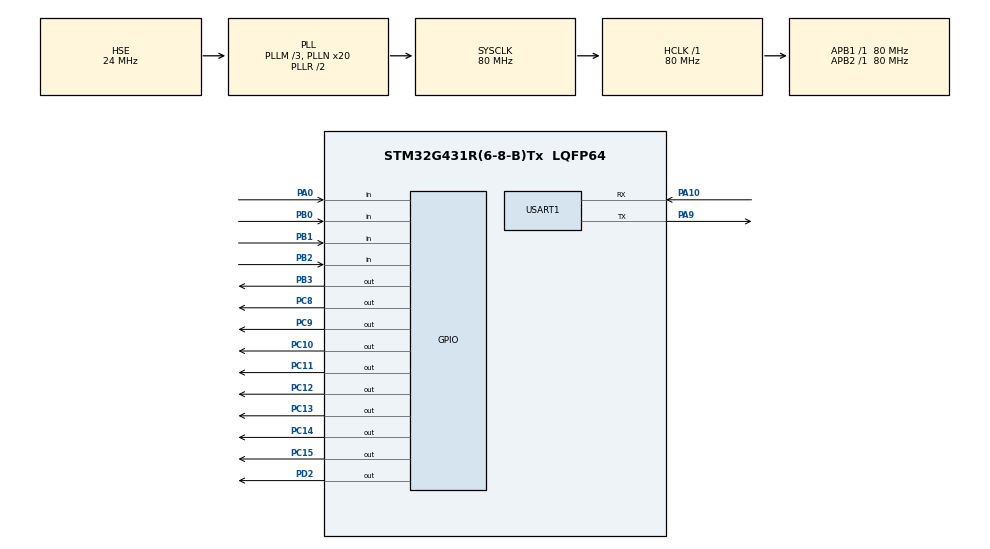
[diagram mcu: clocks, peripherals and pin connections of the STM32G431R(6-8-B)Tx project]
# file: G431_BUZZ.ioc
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Mcu.Family=STM32G4
Mcu.Name=STM32G431R(6-8-B)Tx
Mcu.Package=LQFP64
NVIC.PriorityGroup=NVIC_PRIORITYGROUP_4
NVIC.TIM6_DAC_IRQn=true\:0\:0\:false\:false\:true\:false\:true\:true
PA0.Signal=GPIO_Input
PA10.Mode=Asynchronous
PA10.Signal=USART1_RX
PA13.Mode=Serial_Wire
PA13.Signal=SYS_JTMS-SWDIO
PA14.Mode=Serial_Wire
PA14.Signal=SYS_JTCK-SWCLK
PA9.Mode=Asynchronous
PA9.Signal=USART1_TX
PB0.Signal=GPIO_Input
PB1.Signal=GPIO_Input
PB2.Signal=GPIO_Input
PB3.PinState=GPIO_PIN_SET
PB3.Signal=GPIO_Output
PC10.PinState=GPIO_PIN_SET
PC10.Signal=GPIO_Output
PC11.PinState=GPIO_PIN_SET
PC11.Signal=GPIO_Output
PC12.PinState=GPIO_PIN_SET
PC12.Signal=GPIO_Output
PC13.PinState=GPIO_PIN_SET
PC13.Signal=GPIO_Output
PC14-OSC32_IN.PinState=GPIO_PIN_SET
PC14-OSC32_IN.Signal=GPIO_Output
PC15-OSC32_OUT.PinState=GPIO_PIN_SET
PC15-OSC32_OUT.Signal=GPIO_Output
PC8.PinState=GPIO_PIN_SET
PC8.Signal=GPIO_Output
PC9.PinState=GPIO_PIN_SET
PC9.Signal=GPIO_Output
PD2.PinState=GPIO_PIN_SET
PD2.Signal=GPIO_Output
PF0-OSC_IN.Mode=HSE-External-Oscillator
PF0-OSC_IN.Signal=RCC_OSC_IN
PF1-OSC_OUT.Mode=HSE-External-Oscillator
PF1-OSC_OUT.Signal=RCC_OSC_OUT
ProjectManager.HeapSize=0x200
ProjectManager.StackSize=0x400
ProjectManager.TargetToolchain=MDK-ARM V5
RCC.ADC12Freq_Value=80000000
RCC.AHBFreq_Value=80000000
RCC.APB1Freq_Value=80000000
RCC.APB1TimFreq_Value=80000000
RCC.APB2Freq_Value=80000000
RCC.APB2TimFreq_Value=80000000
RCC.CortexFreq_Value=80000000
RCC.EXTERNAL_CLOCK_VALUE=12288000
RCC.HCLKFreq_Value=80000000
RCC.HSE_VALUE=24000000
RCC.HSI48_VALUE=48000000
RCC.HSI_VALUE=16000000
RCC.LSE_VALUE=32768
RCC.PLLM=RCC_PLLM_DIV3
RCC.PLLN=20
RCC.PLLSourceVirtual=RCC_PLLSOURCE_HSE
RCC.SYSCLKFreq_VALUE=80000000
RCC.SYSCLKSource=RCC_SYSCLKSOURCE_PLLCLK
RCC.USBFreq_Value=80000000
RCC.VCOOutputFreq_Value=160000000
RealThread.RT-Thread.3.1.5.RTOSJjkernel=true
RealThread.RT-Thread.3.1.5.RTOSJjshell=true
TIM6.PeriodNoDither=10000-1
TIM6.Prescaler=80-1
USART1.VirtualMode-Asynchronous=VM_ASYNC
VP_RealThread.RT-Thread_VS_RTOSJjkernel_3.1.5_3.1.5.Mode=RTOSJjkernel
VP_RealThread.RT-Thread_VS_RTOSJjshell_3.1.5_3.1.5.Mode=RTOSJjshell
VP_SYS_VS_DBSignals.Mode=DisableDeadBatterySignals
VP_TIM6_VS_ClockSourceINT.Mode=Enable_Timer
board=custom

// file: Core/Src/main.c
/* USER CODE BEGIN Header */
/**
  ******************************************************************************
  * @file           : main.c
  * @brief          : Main program body
  ******************************************************************************
  * @attention
  *
  * <h2><center>&copy; Copyright (c) 2022 STMicroelectronics.
  * All rights reserved.</center></h2>
  *
  * This software component is licensed by ST under BSD 3-Clause license,
  * the "License"; You may not use this file except in compliance with the
  * License. You may obtain a copy of the License at:
  *                        opensource.org/licenses/BSD-3-Clause
  *
  ******************************************************************************
  */
/* USER CODE END Header */
#include "main.h"
#include "tim.h"
#include "usart.h"
#include "gpio.h"

/* USER CODE BEGIN Includes */
#include "rtthread.h"
/* USER CODE END Includes */

/* USER CODE BEGIN PTD */
typedef enum
{
	KEY_UP = 0,//按键抬起
	KEY_DEBOUNCE,//按键消抖
	KEY_WAIT_RELEASE//按键等待释放
}KEY_STATE;

// //线程1--动态线程控制LED
///* 定义线程控制块 */
//static rt_thread_t led1_thread = RT_NULL;

// //线程2--动态线程检测按键
///* 定义线程控制块 */
//static rt_thread_t key_thread = RT_NULL;

//static void led1_thread_entry(void* parameter);
//static void key_thread_entry(void* parameter);

/* USER CODE END PTD */

/* USER CODE BEGIN PD */
// GPIO输入输出宏定义
#define B1 HAL_GPIO_ReadPin(GPIOB, GPIO_PIN_0)
#define B2 HAL_GPIO_ReadPin(GPIOB, GPIO_PIN_1)
#define B3 HAL_GPIO_ReadPin(GPIOB, GPIO_PIN_2)
#define B4 HAL_GPIO_ReadPin(GPIOA, GPIO_PIN_0)

#define BUZZ_ON HAL_GPIO_WritePin(GPIOB, GPIO_PIN_3, GPIO_PIN_RESET)
#define BUZZ_OFF HAL_GPIO_WritePin(GPIOB, GPIO_PIN_3, GPIO_PIN_SET)

#define LED1_ON HAL_GPIO_WritePin(GPIOC, GPIO_PIN_8, GPIO_PIN_RESET);
#define LED1_OFF HAL_GPIO_WritePin(GPIOC, GPIO_PIN_8, GPIO_PIN_SET);

/* USER CODE END PD */

/* USER CODE BEGIN PV */

uint8_t KEY_Value=0; //按键值
KEY_STATE KeyState=KEY_UP;  //按键状态指示变量，初值为按键抬起状态
volatile uint8_t KeyFlag=0;  //按键有效标志，0：无效；1：有效
uint32_t KEY_PressTime=20;

/* USER CODE END PV */

void SystemClock_Config(void);
/* USER CODE BEGIN PFP */
void KeyScan(void);

/* USER CODE END PFP */

/* USER CODE BEGIN 0 */
static void led3_control (void* parameter)
{
	rt_uint8_t count;
	for(count = 0 ; count < 10 ;count++)
	{
		HAL_GPIO_WritePin(GPIOC, GPIO_PIN_10, GPIO_PIN_RESET);
		rt_kprintf("comtrol led3, led3 on\r\n");
		rt_thread_delay(300);   /* 延时500个tick */

		HAL_GPIO_WritePin(GPIOC, GPIO_PIN_10, GPIO_PIN_SET);
		rt_kprintf(" comtrol led3, led3 off\r\n");
		rt_thread_delay(300);   /* 延时500个tick */
	}
}
MSH_CMD_EXPORT(led3_control, led3 on and off 10 times);

void Open_LED1(void)
{
	HAL_GPIO_WritePin(GPIOC, GPIO_PIN_8, GPIO_PIN_RESET);
	rt_kprintf("LED1 open!\n");
}
MSH_CMD_EXPORT(Open_LED1, Open first LED);
void Close_LED1(void)
{
	HAL_GPIO_WritePin(GPIOC, GPIO_PIN_8, GPIO_PIN_SET);
	rt_kprintf("LED1 close!\n");
}
MSH_CMD_EXPORT(Close_LED1, Close first LED);

static void Operate_LED(int argc, char **argv)
{
	if(argc<2)
	{
		rt_kprintf("Please input 'Light_LED<1|2|3|4|5|6|7|8>'\n");
		return;
	}

	if(!rt_strcmp(argv[1], "1"))
	{
		HAL_GPIO_TogglePin(GPIOC, GPIO_PIN_8);
		rt_kprintf("操作LED1!\n");
	}
	else if(!rt_strcmp(argv[1], "2"))
	{
		HAL_GPIO_TogglePin(GPIOC, GPIO_PIN_9);
		rt_kprintf("操作LED2!\n");
	}
	else if(!rt_strcmp(argv[1], "3"))
	{
		HAL_GPIO_TogglePin(GPIOC, GPIO_PIN_10);
		rt_kprintf("操作LED3!\n");
	}
	else if(!rt_strcmp(argv[1], "4"))
	{
		HAL_GPIO_TogglePin(GPIOC, GPIO_PIN_11);
		rt_kprintf("操作LED4!\n");
	}
	else if(!rt_strcmp(argv[1], "5"))
	{
		HAL_GPIO_TogglePin(GPIOC, GPIO_PIN_12);
		rt_kprintf("操作LED5!\n");
	}
	else
	{
		rt_kprintf("Please input 'Light_LED<1|2|3|4|5|6|7|8>'\n");

	}

}
/* 导出到 msh 命令列表中 */
MSH_CMD_EXPORT(Operate_LED, Operate LED as you want!);

#define THREAD_STACK_SIZE   1024
#define THREAD_PRIORITY     20
#define THREAD_TIMESLICE    10
/* 针对每个线程的计数器 */
volatile rt_uint32_t count[2];

/* 线程 1、2 共用一个入口，但入口参数不同 */
static void thread_entry(void* parameter)
{
    rt_uint32_t value;

    value = (rt_uint32_t)parameter;
    while (1)
    {
        rt_kprintf("thread %d is running\n", value);
        rt_thread_mdelay(1000); // 延时一段时间
    }
}

static rt_thread_t tid1 = RT_NULL;
static rt_thread_t tid2 = RT_NULL;

static void hook_of_scheduler(struct rt_thread* from, struct rt_thread* to)
{
    rt_kprintf("from: %s -->  to: %s \n", from->name , to->name);
}

int scheduler_hook(void)
{
    /* 设置调度器钩子 */
    rt_scheduler_sethook(hook_of_scheduler);

    /* 创建线程 1 */
    tid1 = rt_thread_create("thread1",
                            thread_entry, (void*)1,
                            THREAD_STACK_SIZE,
                            THREAD_PRIORITY, THREAD_TIMESLICE);
    if (tid1 != RT_NULL)
        rt_thread_startup(tid1);

    /* 创建线程 2 */
    tid2 = rt_thread_create("thread2",
                            thread_entry, (void*)2,
                            THREAD_STACK_SIZE,
                            THREAD_PRIORITY,THREAD_TIMESLICE - 5);
    if (tid2 != RT_NULL)
        rt_thread_startup(tid2);
    return 0;
}

/* 导出到 msh 命令列表中 */
MSH_CMD_EXPORT(scheduler_hook, scheduler_hook sample);

/* USER CODE END 0 */

int main(void)
{

  /* MCU Configuration--------------------------------------------------------*/

  /* Reset of all peripherals, Initializes the Flash interface and the Systick. */
  HAL_Init();

  /* Configure the system clock */
  SystemClock_Config();

  /* Initialize all configured peripherals */
  MX_GPIO_Init();
  MX_TIM6_Init();
  MX_USART1_UART_Init();

  /* USER CODE END 3 */
}

void SystemClock_Config(void)
{
  RCC_OscInitTypeDef RCC_OscInitStruct = {0};
  RCC_ClkInitTypeDef RCC_ClkInitStruct = {0};
  RCC_PeriphCLKInitTypeDef PeriphClkInit = {0};

  /** Configure the main internal regulator output voltage
  */
  HAL_PWREx_ControlVoltageScaling(PWR_REGULATOR_VOLTAGE_SCALE1);
  /** Initializes the RCC Oscillators according to the specified parameters
  * in the RCC_OscInitTypeDef structure.
  */
  RCC_OscInitStruct.OscillatorType = RCC_OSCILLATORTYPE_HSE;
  RCC_OscInitStruct.HSEState = RCC_HSE_ON;
  RCC_OscInitStruct.PLL.PLLState = RCC_PLL_ON;
  RCC_OscInitStruct.PLL.PLLSource = RCC_PLLSOURCE_HSE;
  RCC_OscInitStruct.PLL.PLLM = RCC_PLLM_DIV3;
  RCC_OscInitStruct.PLL.PLLN = 20;
  RCC_OscInitStruct.PLL.PLLP = RCC_PLLP_DIV2;
  RCC_OscInitStruct.PLL.PLLQ = RCC_PLLQ_DIV2;
  RCC_OscInitStruct.PLL.PLLR = RCC_PLLR_DIV2;
  if (HAL_RCC_OscConfig(&RCC_OscInitStruct) != HAL_OK)
  {
    Error_Handler();
  }
  /** Initializes the CPU, AHB and APB buses clocks
  */
  RCC_ClkInitStruct.ClockType = RCC_CLOCKTYPE_HCLK|RCC_CLOCKTYPE_SYSCLK
                              |RCC_CLOCKTYPE_PCLK1|RCC_CLOCKTYPE_PCLK2;
  RCC_ClkInitStruct.SYSCLKSource = RCC_SYSCLKSOURCE_PLLCLK;
  RCC_ClkInitStruct.AHBCLKDivider = RCC_SYSCLK_DIV1;
  RCC_ClkInitStruct.APB1CLKDivider = RCC_HCLK_DIV1;
  RCC_ClkInitStruct.APB2CLKDivider = RCC_HCLK_DIV1;

  if (HAL_RCC_ClockConfig(&RCC_ClkInitStruct, FLASH_LATENCY_2) != HAL_OK)
  {
    Error_Handler();
  }
  /** Initializes the peripherals clocks
  */
  PeriphClkInit.PeriphClockSelection = RCC_PERIPHCLK_USART1;
  PeriphClkInit.Usart1ClockSelection = RCC_USART1CLKSOURCE_PCLK2;
  if (HAL_RCCEx_PeriphCLKConfig(&PeriphClkInit) != HAL_OK)
  {
    Error_Handler();
  }
}

/* USER CODE BEGIN 4 */

//static void led1_thread_entry(void* parameter)
//{
//	while (1)
//	{
//		HAL_GPIO_WritePin(GPIOC, GPIO_PIN_8, GPIO_PIN_RESET);
//		rt_kprintf("led_thread running, led1 on\r\n");
//		rt_thread_delay(300);   /* 延时500个tick */
//		HAL_GPIO_WritePin(GPIOC, GPIO_PIN_8, GPIO_PIN_SET);
//		rt_kprintf("led_thread running, led1 off\r\n");
//		rt_thread_delay(300);   /* 延时500个tick */
//	}
//}

//void HAL_TIM_PeriodElapsedCallback(TIM_HandleTypeDef *htim)
//{
//	if (htim->Instance == htim6.Instance)
//	{
//		KeyScan(); //调用按键扫描函数
//	}
//}

//static void key_thread_entry(void* parameter)
//{
//	rt_err_t uwRet = RT_EOK;
//	while (1)
//	{
//		if (KeyFlag==1)
//		{
//			KeyFlag=0;
//
//			if (KEY_Value==1)
//				{
//					rt_kprintf("挂起LED1线程！\n");
//					uwRet = rt_thread_suspend(led1_thread);
//					if(RT_EOK==uwRet)
//					{
//						rt_kprintf("挂起LED1线程成功！\n");
//					}
//					else
//					{
//						rt_thread_delay(3000);
//						while(1)
//						{
//
//							rt_kprintf("挂起LED1线程失败！失败代码： 0x%1x\n", uwRet);
//							uwRet = rt_thread_suspend(led1_thread);
//							if(RT_EOK==uwRet)
//							{
//								rt_kprintf("挂起LED1线程成功！\n");
//								break;
//							}
//						}
//					}
//				}
//			else if(KEY_Value==2)
//			{
//					rt_kprintf("恢复LED1线程！\n");
//					uwRet = rt_thread_resume(led1_thread);
//					if(RT_EOK==uwRet)
//					{
//						rt_kprintf("恢复LED1线程成功！\n");
//					}
//					else
//					{
//						rt_kprintf("恢复LED1线程失败！失败代码： 0x%1x\n", uwRet);
//					}
//			}
//		}

//	rt_thread_mdelay(20);
//	}
//}

////===========================四个按键，按键1可以根据按键时间对应2个不同的功能=================================
void KeyScan(void)
{
		switch(KeyState)
		{
			case KEY_UP: //按键抬起状态
			{
				//读到低电平，转换到按键消抖状态
				if((B1==GPIO_PIN_RESET)||(B2==GPIO_PIN_RESET)||(B3==GPIO_PIN_RESET)||(B4==GPIO_PIN_RESET))
				{
					KeyState= KEY_DEBOUNCE;
				}
				break;
			}

			case KEY_DEBOUNCE: //按键消抖状态
			{
				// 读到低电平，转换到按键等待等待释放状态，并设置按键有效标志
				if ((B1==GPIO_PIN_RESET)||(B2==GPIO_PIN_RESET)||(B3==GPIO_PIN_RESET)||(B4==GPIO_PIN_RESET))
				{
					KeyState = KEY_WAIT_RELEASE;
//					KeyFlag = 1; //设置按键有效标志

					if (B1==GPIO_PIN_RESET) KEY_Value=1;
					else if (B2==GPIO_PIN_RESET) KEY_Value=2;
					else if (B3==GPIO_PIN_RESET) KEY_Value=3;
					else if (B4==GPIO_PIN_RESET) KEY_Value=4;

				}
				//读到高电平，表明是干扰信号，转换到按键抬起状态
				else
				{
					KeyState = KEY_UP;
				}

				break;
			}
			case KEY_WAIT_RELEASE: //按键等待释放状态
			{

				//读到低电平，说明按键仍然处于按下的状态，按键时间增加10ms
				if((B1==GPIO_PIN_RESET)||(B2==GPIO_PIN_RESET)||(B3==GPIO_PIN_RESET)||(B4==GPIO_PIN_RESET))
				{
					KEY_PressTime = KEY_PressTime +10;
				}
				//读到高电平，说明按键释放，转换到按键抬起状态
				else
				{
					KeyState = KEY_UP;
					KeyFlag = 1; //设置按键有效标志
				}
				break;

			}
			default: break;
		}
}

/* USER CODE END 4 */

void Error_Handler(void)
{
  __disable_irq();
  while (1)
  {
  }
}

/************************ (C) COPYRIGHT STMicroelectronics *****END OF FILE****/
